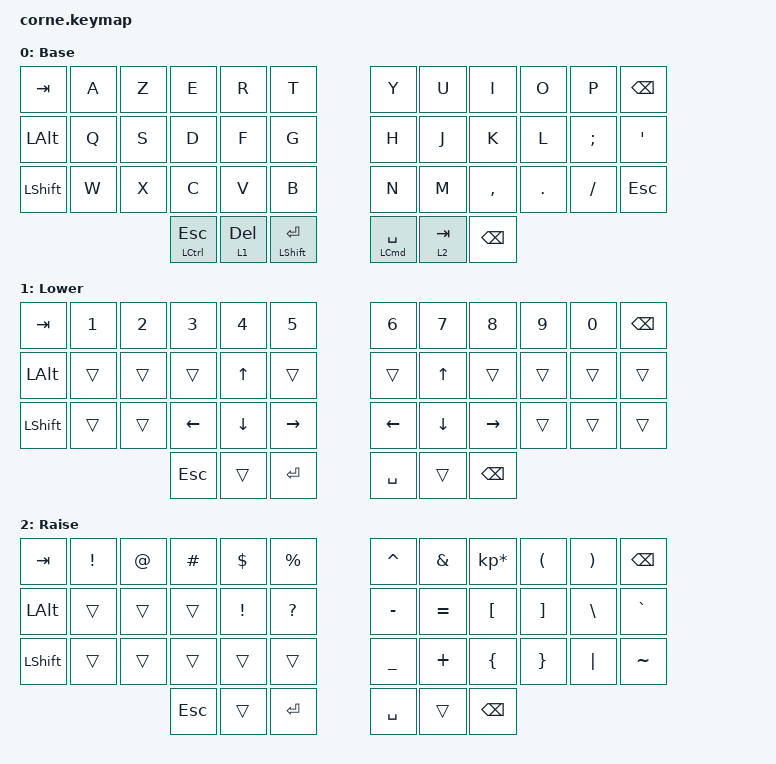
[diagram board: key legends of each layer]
/*
 * Copyright (c) 2020 The ZMK Contributors
 *
 * SPDX-License-Identifier: MIT
 */

#include <behaviors.dtsi>
#include <dt-bindings/zmk/keys.h>

/ {
    keymap {
        compatible = "zmk,keymap";

        default_layer {
            // -----------------------------------------------------------------------------------------
            // |  TAB |  Q  |  W  |  E  |  R  |  T  |   |  Y  |  U   |  I  |  O  |  P  | BKSP |
            // | CTRL |  A  |  S  |  D  |  F  |  G  |   |  H  |  J   |  K  |  L  |  ;  |  '   |
            // | SHFT |  Z  |  X  |  C  |  V  |  B  |   |  N  |  M   |  ,  |  .  |  /  | ESC  |
            //                    | GUI | LWR | SPC |   | ENT | RSE  | ALT |

            display-name = "Base";
            bindings = <
&kp TAB       &kp A  &kp Z  &kp E                    &kp R         &kp T                   &kp Y                   &kp U      &kp I          &kp O    &kp P     &kp BSPC
&kp LEFT_ALT  &kp Q  &kp S  &kp D                    &kp F         &kp G                   &kp H                   &kp J      &kp K          &kp L    &kp SEMI  &kp SQT
&kp LSHFT     &kp W  &kp X  &kp C                    &kp V         &kp B                   &kp N                   &kp M      &kp COMMA      &kp DOT  &kp FSLH  &kp ESC
                            &mt LEFT_CONTROL ESCAPE  &lt 1 DELETE  &mt LEFT_SHIFT ENTER    &mt LEFT_COMMAND SPACE  &lt 2 TAB  &kp BACKSPACE
            >;
        };

        lower_layer {
            // -----------------------------------------------------------------------------------------
            // |  TAB |  1  |  2  |  3  |  4  |  5  |   |  6  |  7  |  8  |  9  |  0  | BKSP |
            // | BTCLR| BT1 | BT2 | BT3 | BT4 | BT5 |   | LFT | DWN |  UP | RGT |     |      |
            // | SHFT |     |     |     |     |     |   |     |     |     |     |     |      |
            //                    | GUI |     | SPC |   | ENT |     | ALT |

            display-name = "Lower";
            bindings = <
&kp TAB       &kp N1  &kp N2  &kp N3          &kp N4          &kp N5       &kp N6          &kp N7          &kp N8         &kp N9  &kp N0  &kp BSPC
&kp LEFT_ALT  &trans  &trans  &trans          &kp UP_ARROW    &trans       &trans          &kp UP_ARROW    &trans         &trans  &trans  &trans
&kp LSHFT     &trans  &trans  &kp LEFT_ARROW  &kp DOWN_ARROW  &kp RIGHT    &kp LEFT_ARROW  &kp DOWN_ARROW  &kp RIGHT      &trans  &trans  &trans
                              &kp ESC         &trans          &kp ENTER    &kp SPACE       &trans          &kp BACKSPACE
            >;
        };

        raise_layer {
            // -----------------------------------------------------------------------------------------
            // |  TAB |  !  |  @  |  #  |  $  |  %  |   |  ^  |  &  |  *  |  (  |  )  | BKSP |
            // | CTRL |     |     |     |     |     |   |  -  |  =  |  [  |  ]  |  \  |  `   |
            // | SHFT |     |     |     |     |     |   |  _  |  +  |  {  |  }  | "|" |  ~   |
            //                    | GUI |     | SPC |   | ENT |     | ALT |

            display-name = "Raise";
            bindings = <
&kp TAB       &kp EXCL  &kp AT  &kp HASH    &kp DLLR         &kp PRCNT       &kp CARET  &kp AMPS   &kp KP_MULTIPLY  &kp LPAR  &kp RPAR  &kp BSPC
&kp LEFT_ALT  &trans    &trans  &trans      &kp EXCLAMATION  &kp QUESTION    &kp MINUS  &kp EQUAL  &kp LBKT         &kp RBKT  &kp BSLH  &kp GRAVE
&kp LSHFT     &trans    &trans  &trans      &trans           &trans          &kp UNDER  &kp PLUS   &kp LBRC         &kp RBRC  &kp PIPE  &kp TILDE
                                &kp ESCAPE  &trans           &kp ENTER       &kp SPACE  &trans     &kp BACKSPACE
            >;
        };

        extra_1 { status = "reserved"; };

        extra_2 { status = "reserved"; };

        extra_3 { status = "reserved"; };
    };
};
